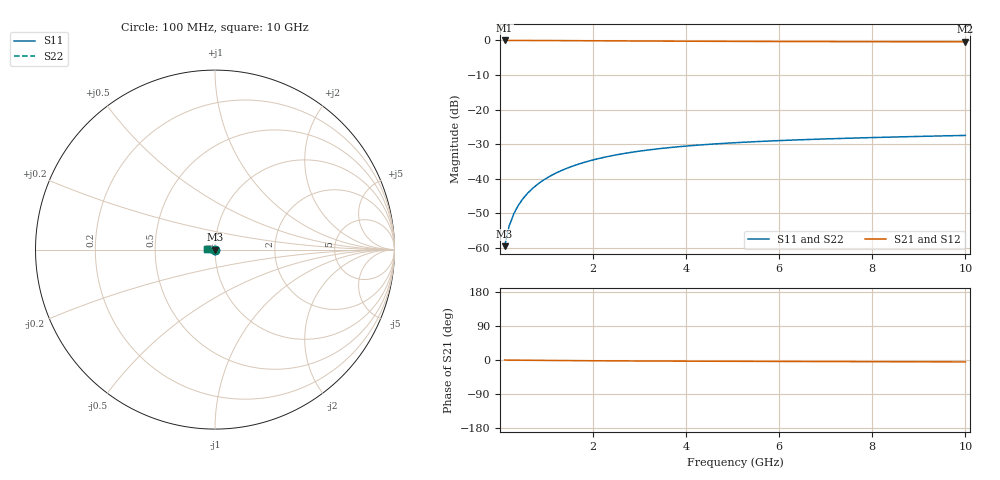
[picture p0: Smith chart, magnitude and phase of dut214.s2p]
! Touchstone file exported from HFSS 2024.1.0
!  File:  C:/UserFiles/LocalFiles/RDL_TSV_Batchsim/temp_TSV1_214_1779387025.aedt
!  Generated:  02:16:06 AM May 22, 2026
!  Design:  TSV1
!  Project:  temp_TSV1_214_1779387025
!  Setup:  Setup1
!  Solution:  Sweep
! Variables:
!  dtsv = 8.63um
!  hbump = 3um
!  htsv = 79.06um
!  lrdl = 252.1521522um
!  p = 40
!  p1 = 46.08um
!  t = 500um
!  trdl = 3um
!  wrdl = 24.89489489um
# GHz S MA R 50.000000
! Terminal data exported
! Port[1] = TSV22_T1
! Port[2] = TSV22_T2
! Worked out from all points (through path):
!   100 points, 100 MHz to 10 GHz, reference 50 ohm
!   highest |S21| = 0.00 dB at 100 MHz (marker M1); lowest = -0.4 dB at 10 GHz (marker M2)
!   lowest |S11| = -59.6 dB at 100 MHz (marker M3), VSWR 1.00, Z = 50 - j0.104 ohm
!   |S11| at or under -10 dB: start of sweep to end of sweep
!   |S22| runs from -59.6 to -27.5 dB; largest |S21 - S12| = 5e-15
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0.1  0.001052 -81.1  0.9998 -0.1  0.9998 -0.1  0.001052 -81.1
! Gamma 0 0 0 0
! Port Impedance 50 0 50 0
0.2  0.002084 -87.9  0.9997 -0.2  0.9997 -0.2  0.002084 -87.9
0.3  0.003122 -91.4  0.9995 -0.3  0.9995 -0.3  0.003122 -91.4
0.4  0.004156 -94.0  0.9992 -0.5  0.9992 -0.5  0.004156 -94.0
0.5  0.005182 -96.3  0.999 -0.6  0.999 -0.6  0.005182 -96.3
0.6  0.006199 -98.4  0.9986 -0.7  0.9986 -0.7  0.006199 -98.4
0.7  0.007204 -100.4  0.9982 -0.8  0.9982 -0.8  0.007204 -100.4
0.8  0.008195 -102.3  0.9978 -0.9  0.9978 -0.9  0.008195 -102.3
0.9  0.009171 -104.2  0.9973 -1.0  0.9973 -1.0  0.009171 -104.2
1.1  0.01107 -107.7  0.9961 -1.2  0.9961 -1.2  0.01107 -107.7
1.4  0.01378 -112.8  0.9941 -1.5  0.9941 -1.5  0.01378 -112.8
1.6  0.01549 -116.0  0.9927 -1.6  0.9927 -1.6  0.01549 -116.0
1.8  0.0171 -119.0  0.9912 -1.8  0.9912 -1.8  0.0171 -119.0
2.1  0.01936 -123.4  0.9888 -2.0  0.9888 -2.0  0.01936 -123.4
2.5  0.02207 -128.9  0.9856 -2.3  0.9856 -2.3  0.02207 -128.9
2.9  0.02445 -134.0  0.9825 -2.5  0.9825 -2.5  0.02445 -134.0
3.4  0.02701 -139.7  0.9788 -2.8  0.9788 -2.8  0.02701 -139.7
4.2  0.03033 -147.8  0.9737 -3.1  0.9737 -3.1  0.03033 -147.8
5.1  0.03321 -155.6  0.969 -3.5  0.969 -3.5  0.03321 -155.6
6.7  0.03696 -166.9  0.9628 -4.0  0.9628 -4.0  0.03696 -166.9
8.4  0.0399 -176.5  0.9584 -4.6  0.9584 -4.6  0.0399 -176.5
10  0.04219 175.8  0.9556 -5.1  0.9556 -5.1  0.04219 175.8
